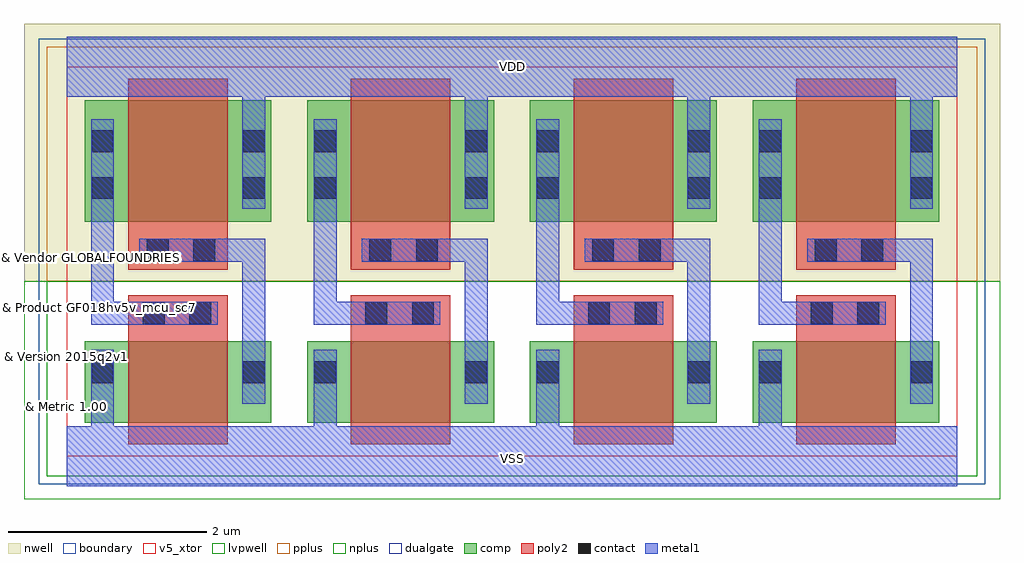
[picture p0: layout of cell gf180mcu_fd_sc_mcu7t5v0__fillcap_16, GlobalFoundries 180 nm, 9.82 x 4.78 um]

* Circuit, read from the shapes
.subckt gf180mcu_fd_sc_mcu7t5v0__fillcap_16 VDD VSS
XM1 n1 n2 VSS VSUBS nfet_05v0 w=0.82u l=1u
XM2 n3 n4 VSS VSUBS nfet_05v0 w=0.82u l=1u
XM3 n5 n6 VSS VSUBS nfet_05v0 w=0.82u l=1u
XM4 n7 n8 VSS VSUBS nfet_05v0 w=0.82u l=1u
XM5 VDD n1 n2 n9 pfet_05v0 w=1.22u l=1u
XM6 VDD n3 n4 n9 pfet_05v0 w=1.22u l=1u
XM7 VDD n5 n6 n9 pfet_05v0 w=1.22u l=1u
XM8 VDD n7 n8 n9 pfet_05v0 w=1.22u l=1u
.ends

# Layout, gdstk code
import gdstk
lib = gdstk.Library(unit=1e-6, precision=1e-09)
def R(c, l, rs):  # rectangles x0, y0, x1, y1
    for r in rs: c.add(gdstk.rectangle(r[:2], r[2:], *l))
def A(c, l, x, y, w, h, nx, ny, dx, dy):  # array of equal rectangles
    R(c, l, [(x+i*dx, y+j*dy, x+i*dx+w, y+j*dy+h) for i in range(nx) for j in range(ny)])
def P(c, l, *ps):  # polygons
    for p in ps: c.add(gdstk.Polygon(p, *l))
boundary = (0, 0)
nwell = (21, 0)
comp = (22, 0)
poly2 = (30, 0)
pplus = (31, 0)
nplus = (32, 0)
contact = (33, 0)
metal1 = (34, 0)
dualgate = (55, 0)
v5_xtor = (112, 1)
lvpwell = (204, 0)

gf180mcu_fd_sc_mcu7t5v0_ = lib.new_cell('gf180mcu_fd_sc_mcu7t5v0__fillcap_16')
R(gf180mcu_fd_sc_mcu7t5v0_, boundary, [(0,0,8.96,3.92)])
R(gf180mcu_fd_sc_mcu7t5v0_, nwell, [(-0.43,1.76,9.39,4.35)])
A(gf180mcu_fd_sc_mcu7t5v0_, comp, 0.18, 0.34, 1.88, 0.82, 4, 1, 2.24, 0)
A(gf180mcu_fd_sc_mcu7t5v0_, comp, 0.18, 2.36, 1.88, 1.22, 4, 1, 2.24, 0)
A(gf180mcu_fd_sc_mcu7t5v0_, poly2, 0.62, 0.12, 1, 1.5, 4, 1, 2.24, 0)
A(gf180mcu_fd_sc_mcu7t5v0_, poly2, 0.62, 1.875, 1, 1.925, 4, 1, 2.24, 0)
R(gf180mcu_fd_sc_mcu7t5v0_, pplus, [(-0.2,1.76,9.16,4.12)])
R(gf180mcu_fd_sc_mcu7t5v0_, nplus, [(-0.2,-0.2,9.16,1.76)])
R(gf180mcu_fd_sc_mcu7t5v0_, contact, [(0.25,0.735,0.47,0.955), (1.77,0.735,1.99,0.955), (2.49,0.735,2.71,0.955), (4.01,0.735,4.23,0.955), (4.73,0.735,4.95,0.955), (6.25,0.735,6.47,0.955), (6.97,0.735,7.19,0.955), (8.49,0.735,8.71,0.955), (0.765,1.33,0.985,1.55), (1.235,1.33,1.455,1.55), (3.005,1.33,3.225,1.55), (3.475,1.33,3.695,1.55), (5.245,1.33,5.465,1.55), (5.715,1.33,5.935,1.55), (7.485,1.33,7.705,1.55), (7.955,1.33,8.175,1.55), (0.805,1.965,1.025,2.185), (1.275,1.965,1.495,2.185), (3.045,1.965,3.265,2.185), (3.515,1.965,3.735,2.185), (5.285,1.965,5.505,2.185), (5.755,1.965,5.975,2.185), (7.525,1.965,7.745,2.185), (7.995,1.965,8.215,2.185), (0.25,2.59,0.47,2.81), (1.77,2.59,1.99,2.81), (2.49,2.59,2.71,2.81), (4.01,2.59,4.23,2.81), (4.73,2.59,4.95,2.81), (6.25,2.59,6.47,2.81), (6.97,2.59,7.19,2.81), (8.49,2.59,8.71,2.81), (0.25,3.06,0.47,3.28), (1.77,3.06,1.99,3.28), (2.49,3.06,2.71,3.28), (4.01,3.06,4.23,3.28), (4.73,3.06,4.95,3.28), (6.25,3.06,6.47,3.28), (6.97,3.06,7.19,3.28), (8.49,3.06,8.71,3.28)])
P(gf180mcu_fd_sc_mcu7t5v0_, metal1, [(0.245,1.325),(0.245,3.39),(0.475,3.39),(0.475,1.555),(1.52,1.555),(1.52,1.325)],
  [(1.765,0.53),(1.765,1.96),(0.73,1.96),(0.73,2.19),(1.995,2.19),(1.995,0.53)],
  [(2.485,1.325),(2.485,3.39),(2.715,3.39),(2.715,1.555),(3.76,1.555),(3.76,1.325)],
  [(4.005,0.53),(4.005,1.96),(2.97,1.96),(2.97,2.19),(4.235,2.19),(4.235,0.53)],
  [(4.725,1.325),(4.725,3.39),(4.955,3.39),(4.955,1.555),(6,1.555),(6,1.325)],
  [(6.245,0.53),(6.245,1.96),(5.21,1.96),(5.21,2.19),(6.475,2.19),(6.475,0.53)],
  [(6.965,1.325),(6.965,3.39),(7.195,3.39),(7.195,1.555),(8.24,1.555),(8.24,1.325)],
  [(8.485,0.53),(8.485,1.96),(7.45,1.96),(7.45,2.19),(8.715,2.19),(8.715,0.53)],
  [(0,-0.3),(0,0.3),(0.245,0.3),(0.245,1.07),(0.475,1.07),(0.475,0.3),(2.485,0.3),(2.485,1.07),(2.715,1.07),(2.715,0.3),(4.725,0.3),(4.725,1.07),(4.955,1.07),(4.955,0.3),(6.965,0.3),(6.965,1.07),(7.195,1.07),(7.195,0.3),(8.96,0.3),(8.96,-0.3)],
  [(1.765,2.49),(1.765,3.62),(0,3.62),(0,4.22),(8.96,4.22),(8.96,3.62),(8.715,3.62),(8.715,2.49),(8.485,2.49),(8.485,3.62),(6.475,3.62),(6.475,2.49),(6.245,2.49),(6.245,3.62),(4.235,3.62),(4.235,2.49),(4.005,2.49),(4.005,3.62),(1.995,3.62),(1.995,2.49)])
R(gf180mcu_fd_sc_mcu7t5v0_, dualgate, [(-0.28,-0.28,9.24,4.2)])
R(gf180mcu_fd_sc_mcu7t5v0_, v5_xtor, [(0,0,8.96,3.92)])
R(gf180mcu_fd_sc_mcu7t5v0_, lvpwell, [(-0.43,-0.43,9.39,1.76)])
gf180mcu_fd_sc_mcu7t5v0_.add(gdstk.Label('VDD', (4.48,3.92), layer=34, texttype=10))
gf180mcu_fd_sc_mcu7t5v0_.add(gdstk.Label('VSS', (4.48,-0.02), layer=34, texttype=10))
gf180mcu_fd_sc_mcu7t5v0_.add(gdstk.Label('& Vendor GLOBALFOUNDRIES', (0,2), layer=63, texttype=63))
gf180mcu_fd_sc_mcu7t5v0_.add(gdstk.Label('& Product GF018hv5v_mcu_sc7', (0,1.5), layer=63, texttype=63))
gf180mcu_fd_sc_mcu7t5v0_.add(gdstk.Label('& Version 2015q2v1', (0,1), layer=63, texttype=63))
gf180mcu_fd_sc_mcu7t5v0_.add(gdstk.Label('& Metric 1.00', (0,0.5), layer=63, texttype=63))

lib.write_gds('gf180mcu_fd_sc_mcu7t5v0__fillcap_16.gds')
